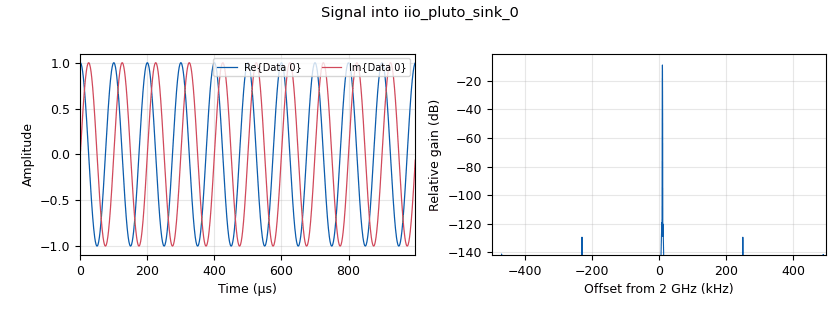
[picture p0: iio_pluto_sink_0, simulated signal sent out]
options:
  parameters:
    generate_options: qt_gui
    id: intro
    output_language: python
    title: Not titled yet
  states: {}

blocks:
- name: samp_rate
  id: variable
  parameters:
    value: '1000000'
  states: {}
- name: analog_sig_source_x_0
  id: analog_sig_source_x
  parameters:
    amp: '1'
    freq: '10000'
    offset: '0'
    phase: '0'
    samp_rate: samp_rate
    type: complex
    waveform: analog.GR_COS_WAVE
  states: {}
- name: iio_pluto_sink_0
  id: iio_pluto_sink
  parameters:
    attenuation1: '10.0'
    bandwidth: '1000000'
    buffer_size: '32768'
    cyclic: 'True'
    filter_source: '''Auto'''
    frequency: '2000000000'
    samplerate: samp_rate
    type: fc32
    uri: usb:2.4.5
  states: {}
- name: iio_pluto_source_0
  id: iio_pluto_source
  parameters:
    bandwidth: '1000000'
    bbdc: 'False'
    buffer_size: '32768'
    filter_source: '''Auto'''
    frequency: '2000000000'
    gain1: '''manual'''
    manual_gain1: '10'
    quadrature: 'True'
    rfdc: 'False'
    samplerate: samp_rate
    type: fc32
    uri: usb:2.4.5
  states: {}
- name: qtgui_sink_x_0
  id: qtgui_sink_x
  parameters:
    bw: samp_rate
    fc: '0'
    fftsize: '2048'
    name: SDuongR
    type: complex
  states: {}

connections:
- [analog_sig_source_x_0, '0', iio_pluto_sink_0, '0']
- [iio_pluto_source_0, '0', qtgui_sink_x_0, '0']

metadata:
  file_format: 1
  grc_version: 3.10.11.0
